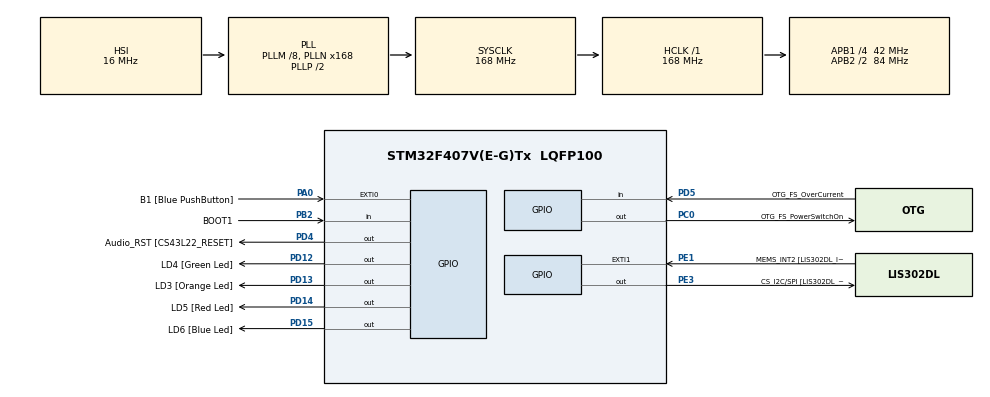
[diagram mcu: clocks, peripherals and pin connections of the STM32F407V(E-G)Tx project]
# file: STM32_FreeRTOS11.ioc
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Mcu.Family=STM32F4
Mcu.Name=STM32F407V(E-G)Tx
Mcu.Package=LQFP100
NVIC.PriorityGroup=NVIC_PRIORITYGROUP_4
NVIC.TIM6_DAC_IRQn=true\:15\:0\:false\:false\:true\:false\:true\:true
NVIC.TimeBase=TIM6_DAC_IRQn
NVIC.TimeBaseIP=TIM6
PA0-WKUP.GPIO_Label=B1 [Blue PushButton]
PA0-WKUP.Signal=GPXTI0
PA10.GPIO_Label=OTG_FS_ID
PA10.GPIO_Mode=GPIO_MODE_AF_PP
PA10.GPIO_PuPd=GPIO_NOPULL
PA10.GPIO_Speed=GPIO_SPEED_FREQ_LOW
PA10.Signal=USB_OTG_FS_ID
PA11.GPIO_Label=OTG_FS_DM
PA11.GPIO_Mode=GPIO_MODE_AF_PP
PA11.GPIO_PuPd=GPIO_NOPULL
PA11.GPIO_Speed=GPIO_SPEED_FREQ_LOW
PA11.Signal=USB_OTG_FS_DM
PA12.GPIO_Label=OTG_FS_DP
PA12.GPIO_Mode=GPIO_MODE_AF_PP
PA12.GPIO_PuPd=GPIO_NOPULL
PA12.GPIO_Speed=GPIO_SPEED_FREQ_LOW
PA12.Signal=USB_OTG_FS_DP
PA13.GPIO_Label=SWDIO
PA13.Mode=Trace_Asynchronous_SW
PA13.Signal=SYS_JTMS-SWDIO
PA14.GPIO_Label=SWCLK
PA14.Mode=Trace_Asynchronous_SW
PA14.Signal=SYS_JTCK-SWCLK
PA4.GPIO_Label=I2S3_WS [CS43L22_LRCK]
PA4.GPIO_Mode=GPIO_MODE_AF_PP
PA4.GPIO_PuPd=GPIO_NOPULL
PA4.GPIO_Speed=GPIO_SPEED_FREQ_LOW
PA4.Signal=I2S3_WS
PA5.GPIO_Label=SPI1_SCK [LIS302DL_SCL/SPC]
PA5.GPIO_Mode=GPIO_MODE_AF_PP
PA5.GPIO_PuPd=GPIO_NOPULL
PA5.GPIO_Speed=GPIO_SPEED_FREQ_LOW
PA5.Signal=SPI1_SCK
PA6.GPIO_Label=SPI1_MISO [LIS302DL_SDO]
PA6.GPIO_Mode=GPIO_MODE_AF_PP
PA6.GPIO_PuPd=GPIO_NOPULL
PA6.GPIO_Speed=GPIO_SPEED_FREQ_LOW
PA6.Signal=SPI1_MISO
PA7.GPIO_Label=SPI1_MOSI [LIS302DL_SDA/SDI/SDO]
PA7.GPIO_Mode=GPIO_MODE_AF_PP
PA7.GPIO_PuPd=GPIO_NOPULL
PA7.GPIO_Speed=GPIO_SPEED_FREQ_LOW
PA7.Signal=SPI1_MOSI
PA9.GPIO_Label=VBUS_FS
PA9.GPIO_Mode=GPIO_MODE_INPUT
PA9.GPIO_PuPd=GPIO_NOPULL
PA9.Signal=USB_OTG_FS_VBUS
PB10.GPIO_Label=CLK_IN [MP45DT02_CLK]
PB10.GPIO_Mode=GPIO_MODE_AF_PP
PB10.GPIO_PuPd=GPIO_NOPULL
PB10.GPIO_Speed=GPIO_SPEED_FREQ_LOW
PB10.Signal=I2S2_CK
PB2.GPIO_Label=BOOT1
PB2.GPIO_Mode=GPIO_MODE_INPUT
PB2.GPIO_PuPd=GPIO_NOPULL
PB2.Signal=GPIO_Input
PB3.GPIO_Label=SWO
PB3.Mode=Trace_Asynchronous_SW
PB3.Signal=SYS_JTDO-SWO
PB6.GPIO_Label=Audio_SCL [CS43L22_SCL]
PB6.GPIO_Mode=GPIO_MODE_AF_OD
PB6.GPIO_PuPd=GPIO_NOPULL
PB6.GPIO_Speed=GPIO_SPEED_FREQ_LOW
PB6.Signal=I2C1_SCL
PB9.GPIO_Label=Audio_SDA [CS43L22_SDA]
PB9.GPIO_Mode=GPIO_MODE_AF_OD
PB9.GPIO_PuPd=GPIO_NOPULL
PB9.GPIO_Speed=GPIO_SPEED_FREQ_LOW
PB9.Signal=I2C1_SDA
PC0.GPIO_Label=OTG_FS_PowerSwitchOn
PC0.GPIO_PuPd=GPIO_NOPULL
PC0.GPIO_Speed=GPIO_SPEED_FREQ_LOW
PC0.PinState=GPIO_PIN_SET
PC0.Signal=GPIO_Output
PC10.GPIO_Label=I2S3_SCK [CS43L22_SCLK]
PC10.GPIO_Mode=GPIO_MODE_AF_PP
PC10.GPIO_PuPd=GPIO_NOPULL
PC10.GPIO_Speed=GPIO_SPEED_FREQ_LOW
PC10.Signal=I2S3_CK
PC12.GPIO_Label=I2S3_SD [CS43L22_SDIN]
PC12.GPIO_Mode=GPIO_MODE_AF_PP
PC12.GPIO_PuPd=GPIO_NOPULL
PC12.GPIO_Speed=GPIO_SPEED_FREQ_LOW
PC12.Signal=I2S3_SD
PC14-OSC32_IN.GPIO_Label=PC14-OSC32_IN
PC14-OSC32_IN.Signal=RCC_OSC32_IN
PC15-OSC32_OUT.GPIO_Label=PC15-OSC32_OUT
PC15-OSC32_OUT.Signal=RCC_OSC32_OUT
PC3.GPIO_Label=PDM_OUT [MP45DT02_DOUT]
PC3.GPIO_Mode=GPIO_MODE_AF_PP
PC3.GPIO_PuPd=GPIO_NOPULL
PC3.GPIO_Speed=GPIO_SPEED_FREQ_LOW
PC3.Signal=I2S2_SD
PC7.GPIO_Label=I2S3_MCK [CS43L22_MCLK]
PC7.GPIO_Mode=GPIO_MODE_AF_PP
PC7.GPIO_PuPd=GPIO_NOPULL
PC7.GPIO_Speed=GPIO_SPEED_FREQ_LOW
PC7.Signal=I2S3_MCK
PD12.GPIO_Label=LD4 [Green Led]
PD12.GPIO_PuPd=GPIO_NOPULL
PD12.GPIO_Speed=GPIO_SPEED_FREQ_LOW
PD12.Signal=GPIO_Output
PD13.GPIO_Label=LD3 [Orange Led]
PD13.GPIO_PuPd=GPIO_NOPULL
PD13.GPIO_Speed=GPIO_SPEED_FREQ_LOW
PD13.Signal=GPIO_Output
PD14.GPIO_Label=LD5 [Red Led]
PD14.GPIO_PuPd=GPIO_NOPULL
PD14.GPIO_Speed=GPIO_SPEED_FREQ_LOW
PD14.Signal=GPIO_Output
PD15.GPIO_Label=LD6 [Blue Led]
PD15.GPIO_PuPd=GPIO_NOPULL
PD15.GPIO_Speed=GPIO_SPEED_FREQ_LOW
PD15.Signal=GPIO_Output
PD4.GPIO_Label=Audio_RST [CS43L22_RESET]
PD4.GPIO_PuPd=GPIO_NOPULL
PD4.GPIO_Speed=GPIO_SPEED_FREQ_LOW
PD4.Signal=GPIO_Output
PD5.GPIO_Label=OTG_FS_OverCurrent
PD5.GPIO_Mode=GPIO_MODE_INPUT
PD5.GPIO_PuPd=GPIO_NOPULL
PD5.Signal=GPIO_Input
PE1.GPIO_Label=MEMS_INT2 [LIS302DL_INT2]
PE1.GPIO_ModeDefaultEXTI=GPIO_MODE_EVT_RISING
PE1.GPIO_PuPd=GPIO_NOPULL
PE1.Signal=GPXTI1
PE3.GPIO_Label=CS_I2C/SPI [LIS302DL_CS_I2C/SPI]
PE3.GPIO_PuPd=GPIO_NOPULL
PE3.GPIO_Speed=GPIO_SPEED_FREQ_LOW
PE3.Signal=GPIO_Output
PH0-OSC_IN.GPIO_Label=PH0-OSC_IN
PH0-OSC_IN.Signal=RCC_OSC_IN
PH1-OSC_OUT.GPIO_Label=PH1-OSC_OUT
PH1-OSC_OUT.Signal=RCC_OSC_OUT
ProjectManager.HeapSize=0x200
ProjectManager.StackSize=0x400
ProjectManager.TargetToolchain=STM32CubeIDE
RCC.48MHZClocksFreq_Value=48000000
RCC.AHBFreq_Value=168000000
RCC.APB1CLKDivider=RCC_HCLK_DIV4
RCC.APB1Freq_Value=42000000
RCC.APB1TimFreq_Value=84000000
RCC.APB2CLKDivider=RCC_HCLK_DIV2
RCC.APB2Freq_Value=84000000
RCC.APB2TimFreq_Value=168000000
RCC.CortexFreq_Value=168000000
RCC.HCLKFreq_Value=168000000
RCC.HSE_VALUE=8000000
RCC.HSI_VALUE=16000000
RCC.LSE_VALUE=32768
RCC.PLLM=8
RCC.PLLN=168
RCC.PLLQ=7
RCC.SYSCLKFreq_VALUE=168000000
RCC.SYSCLKSource=RCC_SYSCLKSOURCE_PLLCLK
RCC.VCOOutputFreq_Value=336000000
VP_SYS_VS_tim6.Mode=TIM6
board=STM32F407G-DISC1

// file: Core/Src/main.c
/* USER CODE BEGIN Header */
/**
  ******************************************************************************
  * @file           : main.c
  * @brief          : Main program body
  ******************************************************************************
  * @attention
  *
  * <h2><center>&copy; Copyright (c) 2021 STMicroelectronics.
  * All rights reserved.</center></h2>
  *
  * This software component is licensed by ST under BSD 3-Clause license,
  * the "License"; You may not use this file except in compliance with the
  * License. You may obtain a copy of the License at:
  *                        opensource.org/licenses/BSD-3-Clause
  *
  ******************************************************************************
  */
/* USER CODE END Header */
#include "main.h"

/* USER CODE BEGIN Includes */
#include <stdio.h>
#include "FreeRTOS.h"
#include "task.h"

/* USER CODE END Includes */

/* USER CODE BEGIN PV */

#define DWT_CTRL    (*(volatile uint32_t*)0xE0001000)

/* USER CODE END PV */

void SystemClock_Config(void);
static void MX_GPIO_Init(void);
/* USER CODE BEGIN PFP */

static void task1_handler(void* parameters);
static void task2_handler(void* parameters);
static void task3_handler(void* parameters);

extern  void SEGGER_UART_init(uint32_t);

/* USER CODE END PFP */

int main(void)
{

  /* USER CODE BEGIN 1 */

  TaskHandle_t task1_handle;
  TaskHandle_t task2_handle;
  TaskHandle_t task3_handle;

  BaseType_t status;

  /* USER CODE END 1 */

  /* MCU Configuration--------------------------------------------------------*/

  /* Reset of all peripherals, Initializes the Flash interface and the Systick. */
  HAL_Init();

  /* Configure the system clock */
  SystemClock_Config();

  /* Initialize all configured peripherals */
  MX_GPIO_Init();
  /* USER CODE BEGIN 2 */

  //Enable the CYCCNT counter.
  DWT_CTRL |= ( 1 << 0);

  SEGGER_UART_init(250000);

  SEGGER_SYSVIEW_Conf();

 // SEGGER_SYSVIEW_Start();

  status = xTaskCreate(task1_handler, "Task-1", 200, NULL, 2, &task1_handle);

  configASSERT(status == pdPASS);

  status = xTaskCreate(task2_handler, "Task-2", 200, NULL, 2, &task2_handle);

  configASSERT(status == pdPASS);

  status = xTaskCreate(task3_handler, "Task-3", 200, NULL, 2, &task3_handle);

  configASSERT(status == pdPASS);

  //start the freeRTOS scheduler
  vTaskStartScheduler();

  //if the control comes here, then the launch of the scheduler has failed due to
  //insufficient memory in heap

  /* USER CODE END 2 */

  /* Infinite loop */
  while (1)
  {

  }
}

void SystemClock_Config(void)
{
  RCC_OscInitTypeDef RCC_OscInitStruct = {0};
  RCC_ClkInitTypeDef RCC_ClkInitStruct = {0};

  /** Configure the main internal regulator output voltage
  */
  __HAL_RCC_PWR_CLK_ENABLE();
  __HAL_PWR_VOLTAGESCALING_CONFIG(PWR_REGULATOR_VOLTAGE_SCALE1);

  /** Initializes the RCC Oscillators according to the specified parameters
  * in the RCC_OscInitTypeDef structure.
  */
  RCC_OscInitStruct.OscillatorType = RCC_OSCILLATORTYPE_HSI;
  RCC_OscInitStruct.HSIState = RCC_HSI_ON;
  RCC_OscInitStruct.HSICalibrationValue = RCC_HSICALIBRATION_DEFAULT;
  RCC_OscInitStruct.PLL.PLLState = RCC_PLL_ON;
  RCC_OscInitStruct.PLL.PLLSource = RCC_PLLSOURCE_HSI;
  RCC_OscInitStruct.PLL.PLLM = 8;
  RCC_OscInitStruct.PLL.PLLN = 168;
  RCC_OscInitStruct.PLL.PLLP = RCC_PLLP_DIV2;
  RCC_OscInitStruct.PLL.PLLQ = 7;
  if (HAL_RCC_OscConfig(&RCC_OscInitStruct) != HAL_OK)
  {
    Error_Handler();
  }

  /** Initializes the CPU, AHB and APB buses clocks
  */
  RCC_ClkInitStruct.ClockType = RCC_CLOCKTYPE_HCLK|RCC_CLOCKTYPE_SYSCLK
                              |RCC_CLOCKTYPE_PCLK1|RCC_CLOCKTYPE_PCLK2;
  RCC_ClkInitStruct.SYSCLKSource = RCC_SYSCLKSOURCE_PLLCLK;
  RCC_ClkInitStruct.AHBCLKDivider = RCC_SYSCLK_DIV1;
  RCC_ClkInitStruct.APB1CLKDivider = RCC_HCLK_DIV4;
  RCC_ClkInitStruct.APB2CLKDivider = RCC_HCLK_DIV2;

  if (HAL_RCC_ClockConfig(&RCC_ClkInitStruct, FLASH_LATENCY_5) != HAL_OK)
  {
    Error_Handler();
  }
}

static void MX_GPIO_Init(void)
{
  GPIO_InitTypeDef GPIO_InitStruct = {0};

  /* GPIO Ports Clock Enable */
  __HAL_RCC_GPIOE_CLK_ENABLE();
  __HAL_RCC_GPIOC_CLK_ENABLE();
  __HAL_RCC_GPIOH_CLK_ENABLE();
  __HAL_RCC_GPIOA_CLK_ENABLE();
  __HAL_RCC_GPIOB_CLK_ENABLE();
  __HAL_RCC_GPIOD_CLK_ENABLE();

  /*Configure GPIO pin Output Level */
  HAL_GPIO_WritePin(CS_I2C_SPI_GPIO_Port, CS_I2C_SPI_Pin, GPIO_PIN_RESET);

  /*Configure GPIO pin Output Level */
  HAL_GPIO_WritePin(OTG_FS_PowerSwitchOn_GPIO_Port, OTG_FS_PowerSwitchOn_Pin, GPIO_PIN_SET);

  /*Configure GPIO pin Output Level */
  HAL_GPIO_WritePin(GPIOD, LD4_Pin|LD3_Pin|LD5_Pin|LD6_Pin
                          |Audio_RST_Pin, GPIO_PIN_RESET);

  /*Configure GPIO pin : CS_I2C_SPI_Pin */
  GPIO_InitStruct.Pin = CS_I2C_SPI_Pin;
  GPIO_InitStruct.Mode = GPIO_MODE_OUTPUT_PP;
  GPIO_InitStruct.Pull = GPIO_NOPULL;
  GPIO_InitStruct.Speed = GPIO_SPEED_FREQ_LOW;
  HAL_GPIO_Init(CS_I2C_SPI_GPIO_Port, &GPIO_InitStruct);

  /*Configure GPIO pin : OTG_FS_PowerSwitchOn_Pin */
  GPIO_InitStruct.Pin = OTG_FS_PowerSwitchOn_Pin;
  GPIO_InitStruct.Mode = GPIO_MODE_OUTPUT_PP;
  GPIO_InitStruct.Pull = GPIO_NOPULL;
  GPIO_InitStruct.Speed = GPIO_SPEED_FREQ_LOW;
  HAL_GPIO_Init(OTG_FS_PowerSwitchOn_GPIO_Port, &GPIO_InitStruct);

  /*Configure GPIO pin : PDM_OUT_Pin */
  GPIO_InitStruct.Pin = PDM_OUT_Pin;
  GPIO_InitStruct.Mode = GPIO_MODE_AF_PP;
  GPIO_InitStruct.Pull = GPIO_NOPULL;
  GPIO_InitStruct.Speed = GPIO_SPEED_FREQ_LOW;
  GPIO_InitStruct.Alternate = GPIO_AF5_SPI2;
  HAL_GPIO_Init(PDM_OUT_GPIO_Port, &GPIO_InitStruct);

  /*Configure GPIO pin : B1_Pin */
  GPIO_InitStruct.Pin = B1_Pin;
  GPIO_InitStruct.Mode = GPIO_MODE_IT_RISING;
  GPIO_InitStruct.Pull = GPIO_NOPULL;
  HAL_GPIO_Init(B1_GPIO_Port, &GPIO_InitStruct);

  /*Configure GPIO pin : I2S3_WS_Pin */
  GPIO_InitStruct.Pin = I2S3_WS_Pin;
  GPIO_InitStruct.Mode = GPIO_MODE_AF_PP;
  GPIO_InitStruct.Pull = GPIO_NOPULL;
  GPIO_InitStruct.Speed = GPIO_SPEED_FREQ_LOW;
  GPIO_InitStruct.Alternate = GPIO_AF6_SPI3;
  HAL_GPIO_Init(I2S3_WS_GPIO_Port, &GPIO_InitStruct);

  /*Configure GPIO pins : SPI1_SCK_Pin SPI1_MISO_Pin SPI1_MOSI_Pin */
  GPIO_InitStruct.Pin = SPI1_SCK_Pin|SPI1_MISO_Pin|SPI1_MOSI_Pin;
  GPIO_InitStruct.Mode = GPIO_MODE_AF_PP;
  GPIO_InitStruct.Pull = GPIO_NOPULL;
  GPIO_InitStruct.Speed = GPIO_SPEED_FREQ_LOW;
  GPIO_InitStruct.Alternate = GPIO_AF5_SPI1;
  HAL_GPIO_Init(GPIOA, &GPIO_InitStruct);

  /*Configure GPIO pin : BOOT1_Pin */
  GPIO_InitStruct.Pin = BOOT1_Pin;
  GPIO_InitStruct.Mode = GPIO_MODE_INPUT;
  GPIO_InitStruct.Pull = GPIO_NOPULL;
  HAL_GPIO_Init(BOOT1_GPIO_Port, &GPIO_InitStruct);

  /*Configure GPIO pin : CLK_IN_Pin */
  GPIO_InitStruct.Pin = CLK_IN_Pin;
  GPIO_InitStruct.Mode = GPIO_MODE_AF_PP;
  GPIO_InitStruct.Pull = GPIO_NOPULL;
  GPIO_InitStruct.Speed = GPIO_SPEED_FREQ_LOW;
  GPIO_InitStruct.Alternate = GPIO_AF5_SPI2;
  HAL_GPIO_Init(CLK_IN_GPIO_Port, &GPIO_InitStruct);

  /*Configure GPIO pins : LD4_Pin LD3_Pin LD5_Pin LD6_Pin
                           Audio_RST_Pin */
  GPIO_InitStruct.Pin = LD4_Pin|LD3_Pin|LD5_Pin|LD6_Pin
                          |Audio_RST_Pin;
  GPIO_InitStruct.Mode = GPIO_MODE_OUTPUT_PP;
  GPIO_InitStruct.Pull = GPIO_NOPULL;
  GPIO_InitStruct.Speed = GPIO_SPEED_FREQ_LOW;
  HAL_GPIO_Init(GPIOD, &GPIO_InitStruct);

  /*Configure GPIO pins : I2S3_MCK_Pin I2S3_SCK_Pin I2S3_SD_Pin */
  GPIO_InitStruct.Pin = I2S3_MCK_Pin|I2S3_SCK_Pin|I2S3_SD_Pin;
  GPIO_InitStruct.Mode = GPIO_MODE_AF_PP;
  GPIO_InitStruct.Pull = GPIO_NOPULL;
  GPIO_InitStruct.Speed = GPIO_SPEED_FREQ_LOW;
  GPIO_InitStruct.Alternate = GPIO_AF6_SPI3;
  HAL_GPIO_Init(GPIOC, &GPIO_InitStruct);

  /*Configure GPIO pin : VBUS_FS_Pin */
  GPIO_InitStruct.Pin = VBUS_FS_Pin;
  GPIO_InitStruct.Mode = GPIO_MODE_INPUT;
  GPIO_InitStruct.Pull = GPIO_NOPULL;
  HAL_GPIO_Init(VBUS_FS_GPIO_Port, &GPIO_InitStruct);

  /*Configure GPIO pins : OTG_FS_ID_Pin OTG_FS_DM_Pin OTG_FS_DP_Pin */
  GPIO_InitStruct.Pin = OTG_FS_ID_Pin|OTG_FS_DM_Pin|OTG_FS_DP_Pin;
  GPIO_InitStruct.Mode = GPIO_MODE_AF_PP;
  GPIO_InitStruct.Pull = GPIO_NOPULL;
  GPIO_InitStruct.Speed = GPIO_SPEED_FREQ_LOW;
  GPIO_InitStruct.Alternate = GPIO_AF10_OTG_FS;
  HAL_GPIO_Init(GPIOA, &GPIO_InitStruct);

  /*Configure GPIO pin : OTG_FS_OverCurrent_Pin */
  GPIO_InitStruct.Pin = OTG_FS_OverCurrent_Pin;
  GPIO_InitStruct.Mode = GPIO_MODE_INPUT;
  GPIO_InitStruct.Pull = GPIO_NOPULL;
  HAL_GPIO_Init(OTG_FS_OverCurrent_GPIO_Port, &GPIO_InitStruct);

  /*Configure GPIO pins : Audio_SCL_Pin Audio_SDA_Pin */
  GPIO_InitStruct.Pin = Audio_SCL_Pin|Audio_SDA_Pin;
  GPIO_InitStruct.Mode = GPIO_MODE_AF_OD;
  GPIO_InitStruct.Pull = GPIO_NOPULL;
  GPIO_InitStruct.Speed = GPIO_SPEED_FREQ_LOW;
  GPIO_InitStruct.Alternate = GPIO_AF4_I2C1;
  HAL_GPIO_Init(GPIOB, &GPIO_InitStruct);

  /*Configure GPIO pin : MEMS_INT2_Pin */
  GPIO_InitStruct.Pin = MEMS_INT2_Pin;
  GPIO_InitStruct.Mode = GPIO_MODE_EVT_RISING;
  GPIO_InitStruct.Pull = GPIO_NOPULL;
  HAL_GPIO_Init(MEMS_INT2_GPIO_Port, &GPIO_InitStruct);

}

/* USER CODE BEGIN 4 */

static void task1_handler(void* parameters)
{
  TickType_t xLastWakeUpTime;
  xLastWakeUpTime = xTaskGetTickCount();
  while(1)
  {
    SEGGER_SYSVIEW_PrintfTarget("Toggling LED Green");
    HAL_GPIO_TogglePin(GPIOD, GPIO_PIN_12);
    vTaskDelayUntil(&xLastWakeUpTime, pdMS_TO_TICKS(1000));
  }
}

static void task2_handler(void* parameters)
{
  TickType_t xLastWakeUpTime;
  xLastWakeUpTime = xTaskGetTickCount();
  while(1)
  {
    SEGGER_SYSVIEW_PrintfTarget("Toggling LED Orange");
    HAL_GPIO_TogglePin(GPIOD, GPIO_PIN_13);
    vTaskDelayUntil(&xLastWakeUpTime, pdMS_TO_TICKS(800));
  }
}

static void task3_handler(void* parameters)
{
  TickType_t xLastWakeUpTime;
  xLastWakeUpTime = xTaskGetTickCount();
  while(1)
  {
    SEGGER_SYSVIEW_PrintfTarget("Toggling LED Red");
    HAL_GPIO_TogglePin(GPIOD, GPIO_PIN_14);
    vTaskDelayUntil(&xLastWakeUpTime, pdMS_TO_TICKS(400));
  }

}

/* USER CODE END 4 */

void HAL_TIM_PeriodElapsedCallback(TIM_HandleTypeDef *htim)
{
  if (htim->Instance == TIM6) {
    HAL_IncTick();
  }
}

void Error_Handler(void)
{
}
